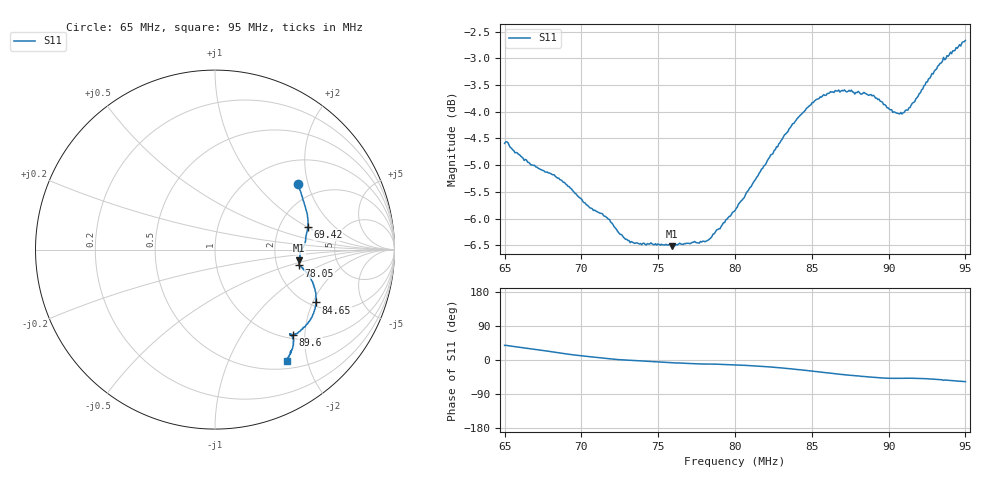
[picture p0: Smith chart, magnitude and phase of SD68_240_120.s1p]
! NanoVNA-App
! Date: 2025-08-09 13:44:55
! Start: 65MHz Stop: 95MHz Points: 401
! S-Parameter data: F S11
# Hz S RI R 50
!  Frequency  S11_Real  S11_Imag
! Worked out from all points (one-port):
!   401 points, 65 MHz to 95 MHz, reference 50 ohm
!   lowest |S11| = -6.5 dB at 75.88 MHz (marker M1), VSWR 2.79, Z = 136 - j20.6 ohm
!   |S11| at or under -10 dB: nowhere
!   S11 on the Smith chart (normalised r, x): 65 MHz: 1.53, +1.73; 69.42 MHz: 2.87, +1.02; 78.05 MHz: 2.66, -0.61; 84.65 MHz: 2.15, -2.12; 89.6 MHz: 1.07, -1.74; 95 MHz: 0.62, -1.66
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6.5e7  0.4605 0.3678
6.5225e7  0.4659 0.362
6.665e7  0.4896 0.2798
6.8075e7  0.5125 0.2031
6.875e7  0.518 0.1643
6.9425e7  0.5171 0.127
7.0175e7  0.5106 0.0909
7.1675e7  0.5009 0.0327
7.25e7  0.4846 0.00674
7.3325e7  0.4762 -0.00891
7.5875e7  0.4685 -0.0589
7.625e7  0.4689 -0.0659
7.805e7  0.4685 -0.0882
7.8725e7  0.478 -0.0927
8e7  0.4969 -0.1138
8.1725e7  0.5342 -0.1594
8.375e7  0.5622 -0.2487
8.465e7  0.5631 -0.2946
8.615e7  0.5419 -0.3713
8.75e7  0.5016 -0.4278
8.8925e7  0.4572 -0.4661
8.96e7  0.4344 -0.4754
9.0425e7  0.4173 -0.4721
9.125e7  0.4225 -0.4714
9.1925e7  0.4331 -0.4878
9.29e7  0.4358 -0.5276
9.3725e7  0.4251 -0.5647
9.5e7  0.3988 -0.6181
